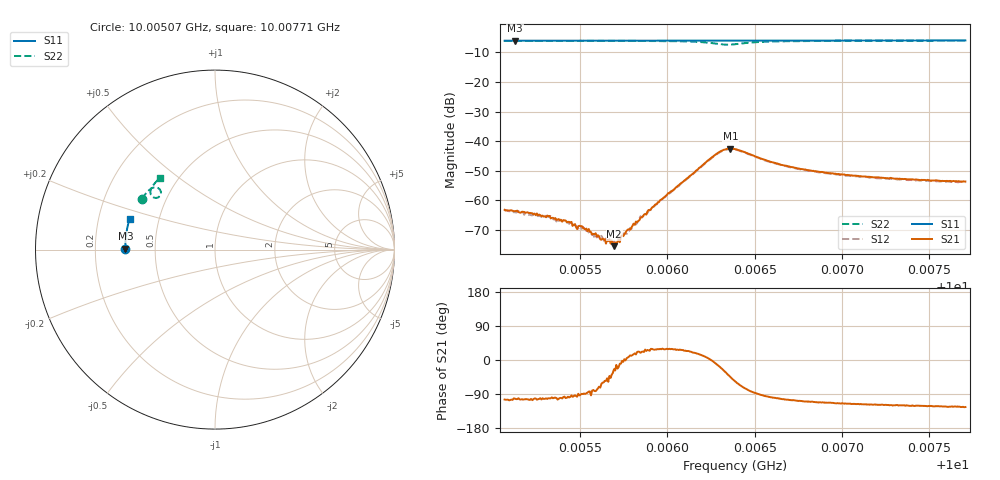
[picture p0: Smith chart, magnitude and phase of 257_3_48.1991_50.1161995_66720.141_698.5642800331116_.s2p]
#  HZ  S  RI  R  50.00
! Rohde & Schwarz Vector Network Analyzer
! Rohde-Schwarz,ZNB20-2Port,1311601062101988,3.16
! Created: UTC 3/20/2024, 11:47:37 AM
! freq[Hz]  re:S11  im:S11  re:S21  im:S21  re:S12  im:S12  re:S22  im:S22
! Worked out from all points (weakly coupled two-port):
!   401 points, 10.00507 GHz to 10.00771 GHz, reference 50 ohm
!   highest |S21| = -42.50 dB at 10.00636 GHz (marker M1); lowest = -75.5 dB at 10.00569 GHz (marker M2)
!   lowest |S11| = -6.0 dB at 10.00513 GHz (marker M3), VSWR 3.00, Z = 16.7 + j0.263 ohm
!   |S11| at or under -10 dB: nowhere
!   |S22| runs from -7.4 to -6.0 dB; largest |S21 - S12| = 0.00043
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1.0005067e10  -0.4998 0.00205  -0.00017 -0.00067  -0.000105 -0.000645  -0.4067 0.282
1.0005126e10  -0.4997 0.00591  -0.000138 -0.000644  -0.000154 -0.000612  -0.4045 0.2853
1.0005325e10  -0.5 0.0188  -0.000104 -0.000535  -8.98e-05 -0.000527  -0.3968 0.2971
1.0005437e10  -0.4999 0.0261  -6.58e-05 -0.000427  -3.47e-05 -0.000398  -0.392 0.3038
1.000547e10  -0.4997 0.0282  -2.22e-05 -0.000395  -5.1e-05 -0.000393  -0.3904 0.306
1.0005509e10  -0.4998 0.0308  4.24e-06 -0.000366  2.41e-05 -0.00033  -0.3888 0.3081
1.0005569e10  -0.4996 0.0347  4.37e-05 -0.000261  7.81e-05 -0.000248  -0.3858 0.3119
1.0005635e10  -0.4994 0.0389  0.000113 -0.000187  0.000128 -0.000172  -0.3826 0.3159
1.0005674e10  -0.4993 0.0415  0.000126 -0.000137  0.000145 -0.000123  -0.3805 0.3184
1.0005694e10  -0.4992 0.0427  0.000153 -6.89e-05  0.000183 -9.24e-05  -0.3793 0.3196
1.0005714e10  -0.4991 0.0441  0.000183 -7.66e-05  0.000199 -3.57e-05  -0.3782 0.3209
1.0005767e10  -0.4989 0.0475  0.000306 2.51e-05  0.000266 4.7e-05  -0.3752 0.3242
1.0005846e10  -0.4986 0.0526  0.000487 0.000167  0.000494 0.000214  -0.3701 0.3295
1.0005952e10  -0.4979 0.0595  0.000819 0.000442  0.000795 0.000453  -0.3616 0.3364
1.0006269e10  -0.4952 0.0799  0.00569 -0.000611  0.0056 -0.000296  -0.3048 0.3307
1.0006315e10  -0.4947 0.0826  0.00638 -0.00285  0.00636 -0.00251  -0.3018 0.3101
1.0006361e10  -0.4943 0.0852  0.0053 -0.00531  0.00542 -0.00493  -0.3154 0.2916
1.0006387e10  -0.4943 0.0868  0.00408 -0.00611  0.00435 -0.00579  -0.3274 0.288
1.0006612e10  -0.4924 0.1012  -0.000726 -0.00426  -0.00053 -0.00421  -0.3596 0.3269
1.000683e10  -0.4899 0.1152  -0.00107 -0.00295  -0.000958 -0.00295  -0.3503 0.3502
1.0007272e10  -0.4834 0.143  -0.00115 -0.00205  -0.00104 -0.00207  -0.3278 0.378
1.0007708e10  -0.4756 0.1699  -0.00117 -0.00172  -0.00105 -0.00171  -0.3058 0.3993
